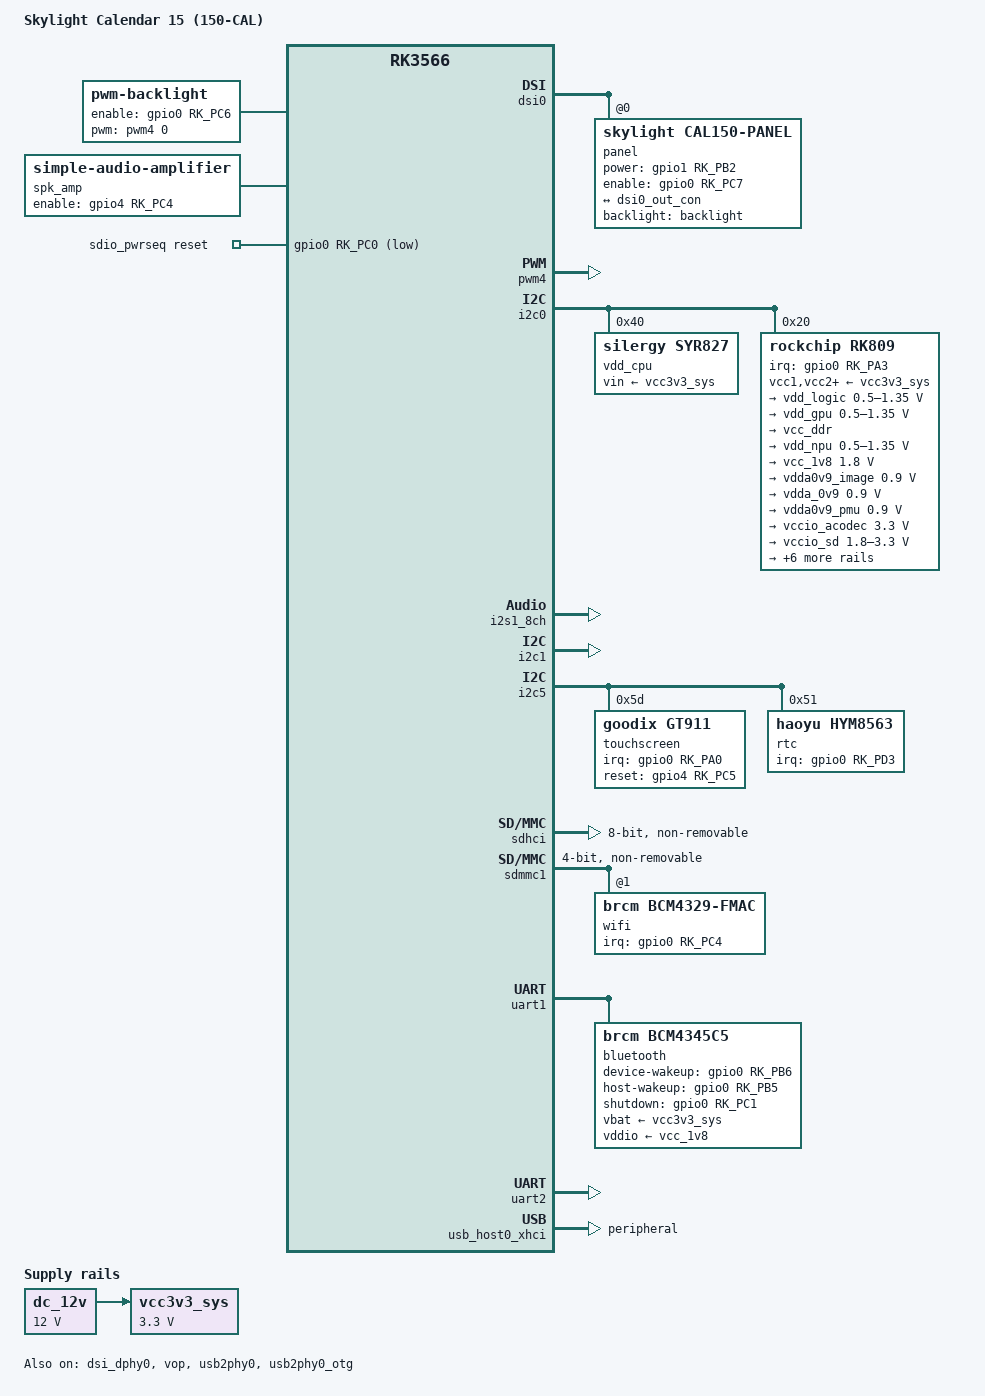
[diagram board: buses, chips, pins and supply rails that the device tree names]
// SPDX-License-Identifier: (GPL-2.0+ OR MIT)
/*
 * Skylight Calendar 15 (150-CAL), Skyworth board D156, Rockchip RK3566, on TECHO5's mainline kernel.
 *
 * Values come from the unit's own stock device tree (rk-kernel.dtb, the d156-mipi variant); the PMIC
 * layout follows rk3566-bigtreetech-cb2.dtsi (the same RK809 rails and AP6256), the display path
 * rk3566-pinetab2.dtsi (VOP2 video port 1 into DSI0). See tools/linux/skylight/kernel/README.md.
 */

/dts-v1/;

#include <dt-bindings/gpio/gpio.h>
#include <dt-bindings/input/input.h>
#include <dt-bindings/pinctrl/rockchip.h>
#include <dt-bindings/soc/rockchip,boot-mode.h>
#include <dt-bindings/soc/rockchip,vop2.h>
#include "rk3566.dtsi"

/ {
	model = "Skylight Calendar 15 (150-CAL)";
	compatible = "skylight,cal150", "rockchip,rk3566";

	aliases {
		mmc0 = &sdhci;
		mmc1 = &sdmmc1;
		serial2 = &uart2;
	};

	/* Labeled: the stock dtbo overlay targets "chosen" and "reboot_mode". */
	chosen: chosen {
		stdout-path = "serial2:1500000n8";
	};

	reserved-memory {
		/* Same place as stock, so stock Android can read our log after a reboot. */
		ramoops@110000 {
			compatible = "ramoops";
			reg = <0x0 0x110000 0x0 0xf0000>;
			record-size = <0x20000>;
			console-size = <0x80000>;
			pmsg-size = <0x50000>;
		};
	};

	/* Stock: pwm4 at 25 us, levels 20..255 linear, default 200, enable on GPIO0_C6. */
	backlight: backlight {
		compatible = "pwm-backlight";
		pwms = <&pwm4 0 25000 0>;
		brightness-levels = <20 255>;
		num-interpolated-steps = <235>;
		default-brightness-level = <180>;
		enable-gpios = <&gpio0 RK_PC6 GPIO_ACTIVE_HIGH>;
	};

	/*
	 * External speaker amp, enabled by GPIO4_C4 (stock spk-ctl). It is fed from the RK809 headphone
	 * outputs, not SPKO: measured 2026-10-17, sound only with "Playback Mux" = HP.
	 */
	spk_amp: audio-amplifier {
		compatible = "simple-audio-amplifier";
		enable-gpios = <&gpio4 RK_PC4 GPIO_ACTIVE_HIGH>;
		pinctrl-names = "default";
		pinctrl-0 = <&spk_ctl>;
		sound-name-prefix = "Speaker Amp";
	};

	rk809-sound {
		compatible = "simple-audio-card";
		simple-audio-card,format = "i2s";
		simple-audio-card,name = "Analog RK809";
		simple-audio-card,mclk-fs = <256>;
		simple-audio-card,aux-devs = <&spk_amp>;
		simple-audio-card,widgets = "Speaker", "Speaker";
		simple-audio-card,routing =
			"Speaker Amp INL", "HPOL",
			"Speaker Amp INR", "HPOR",
			"Speaker", "Speaker Amp OUTL",
			"Speaker", "Speaker Amp OUTR";

		simple-audio-card,cpu {
			sound-dai = <&i2s1_8ch>;
		};

		simple-audio-card,codec {
			sound-dai = <&rk809>;
		};
	};

	/* AP6256 Wi-Fi/BT: power/reset GPIO0_C0, 32 kHz from the RK809. */
	sdio_pwrseq: sdio-pwrseq {
		compatible = "mmc-pwrseq-simple";
		clocks = <&rk809 1>;
		clock-names = "ext_clock";
		pinctrl-names = "default";
		pinctrl-0 = <&wifi_enable_h>;
		post-power-on-delay-ms = <200>;
		reset-gpios = <&gpio0 RK_PC0 GPIO_ACTIVE_LOW>;
	};

	dc_12v: regulator-dc-12v {
		compatible = "regulator-fixed";
		regulator-name = "dc_12v";
		regulator-always-on;
		regulator-boot-on;
		regulator-min-microvolt = <12000000>;
		regulator-max-microvolt = <12000000>;
	};

	vcc3v3_sys: regulator-vcc3v3-sys {
		compatible = "regulator-fixed";
		regulator-name = "vcc3v3_sys";
		regulator-always-on;
		regulator-boot-on;
		regulator-min-microvolt = <3300000>;
		regulator-max-microvolt = <3300000>;
		vin-supply = <&dc_12v>;
	};
};

&cpu0 {
	cpu-supply = <&vdd_cpu>;
};

&cpu1 {
	cpu-supply = <&vdd_cpu>;
};

&cpu2 {
	cpu-supply = <&vdd_cpu>;
};

&cpu3 {
	cpu-supply = <&vdd_cpu>;
};

/* Display: VOP2 video port 1 -> DSI0 (4 lanes) -> bridge -> 1920x1080 LVDS panel. */
&dsi0 {
	#address-cells = <1>;
	#size-cells = <0>;
	status = "okay";

	panel@0 {
		compatible = "skylight,cal150-panel";
		reg = <0>;
		backlight = <&backlight>;
		power-gpios = <&gpio1 RK_PB2 GPIO_ACTIVE_HIGH>;
		enable-gpios = <&gpio0 RK_PC7 GPIO_ACTIVE_HIGH>;

		port {
			panel_in_dsi: endpoint {
				remote-endpoint = <&dsi0_out_con>;
			};
		};
	};
};

&dsi0_in {
	dsi0_in_vp1: endpoint {
		remote-endpoint = <&vp1_out_dsi0>;
	};
};

&dsi0_out {
	dsi0_out_con: endpoint {
		remote-endpoint = <&panel_in_dsi>;
	};
};

&dsi_dphy0 {
	status = "okay";
};

&pwm4 {
	status = "okay";
};

/*
 * dclk_vop1 cannot change VPLL's rate itself (no CLK_SET_RATE_PARENT), so give VPLL a rate that
 * divides to the panel's 152 MHz: 912 MHz / 6 (912 MHz is in the RK3568 PLL table).
 */
&vop {
	assigned-clocks = <&cru PLL_VPLL>, <&cru DCLK_VOP0>, <&cru DCLK_VOP1>;
	assigned-clock-parents = <0>, <&pmucru PLL_HPLL>, <&cru PLL_VPLL>;
	assigned-clock-rates = <912000000>, <0>, <152000000>;
	status = "okay";
};

&vop_mmu {
	status = "okay";
};

&vp1 {
	vp1_out_dsi0: endpoint@ROCKCHIP_VOP2_EP_MIPI0 {
		reg = <ROCKCHIP_VOP2_EP_MIPI0>;
		remote-endpoint = <&dsi0_in_vp1>;
	};
};

&i2c0 {
	status = "okay";

	vdd_cpu: regulator@40 {
		compatible = "silergy,syr827";
		reg = <0x40>;
		regulator-name = "vdd_cpu";
		regulator-min-microvolt = <712500>;
		regulator-max-microvolt = <1390000>;
		regulator-ramp-delay = <2300>;
		regulator-boot-on;
		regulator-always-on;
		vin-supply = <&vcc3v3_sys>;
		fcs,suspend-voltage-selector = <1>;

		regulator-state-mem {
			regulator-off-in-suspend;
		};
	};

	rk809: pmic@20 {
		compatible = "rockchip,rk809";
		reg = <0x20>;
		interrupt-parent = <&gpio0>;
		interrupts = <RK_PA3 IRQ_TYPE_LEVEL_LOW>;
		#clock-cells = <1>;
		clock-output-names = "rk808-clkout1", "rk808-clkout2";
		assigned-clocks = <&cru I2S1_MCLKOUT_TX>;
		assigned-clock-parents = <&cru CLK_I2S1_8CH_TX>;
		clock-names = "mclk";
		clocks = <&cru I2S1_MCLKOUT_TX>;
		pinctrl-names = "default";
		pinctrl-0 = <&pmic_int>, <&i2s1m0_mclk>;
		#sound-dai-cells = <0>;
		system-power-controller;
		wakeup-source;

		vcc1-supply = <&vcc3v3_sys>;
		vcc2-supply = <&vcc3v3_sys>;
		vcc3-supply = <&vcc3v3_sys>;
		vcc4-supply = <&vcc3v3_sys>;
		vcc5-supply = <&vcc3v3_sys>;
		vcc6-supply = <&vcc3v3_sys>;
		vcc7-supply = <&vcc3v3_sys>;
		vcc8-supply = <&vcc3v3_sys>;
		vcc9-supply = <&vcc3v3_sys>;

		regulators {
			vdd_logic: DCDC_REG1 {
				regulator-always-on;
				regulator-boot-on;
				regulator-min-microvolt = <500000>;
				regulator-max-microvolt = <1350000>;
				regulator-ramp-delay = <6001>;
				regulator-initial-mode = <0x2>;
				regulator-name = "vdd_logic";

				regulator-state-mem {
					regulator-off-in-suspend;
				};
			};

			vdd_gpu: DCDC_REG2 {
				regulator-always-on;
				regulator-boot-on;
				regulator-min-microvolt = <500000>;
				regulator-max-microvolt = <1350000>;
				regulator-ramp-delay = <6001>;
				regulator-initial-mode = <0x2>;
				regulator-name = "vdd_gpu";

				regulator-state-mem {
					regulator-off-in-suspend;
				};
			};

			vcc_ddr: DCDC_REG3 {
				regulator-always-on;
				regulator-boot-on;
				regulator-initial-mode = <0x2>;
				regulator-name = "vcc_ddr";

				regulator-state-mem {
					regulator-on-in-suspend;
				};
			};

			vdd_npu: DCDC_REG4 {
				regulator-always-on;
				regulator-boot-on;
				regulator-min-microvolt = <500000>;
				regulator-max-microvolt = <1350000>;
				regulator-ramp-delay = <6001>;
				regulator-initial-mode = <0x2>;
				regulator-name = "vdd_npu";

				regulator-state-mem {
					regulator-off-in-suspend;
				};
			};

			vcc_1v8: DCDC_REG5 {
				regulator-always-on;
				regulator-boot-on;
				regulator-min-microvolt = <1800000>;
				regulator-max-microvolt = <1800000>;
				regulator-name = "vcc_1v8";

				regulator-state-mem {
					regulator-on-in-suspend;
				};
			};

			vdda0v9_image: LDO_REG1 {
				regulator-always-on;
				regulator-boot-on;
				regulator-min-microvolt = <900000>;
				regulator-max-microvolt = <900000>;
				regulator-name = "vdda0v9_image";

				regulator-state-mem {
					regulator-off-in-suspend;
				};
			};

			vdda_0v9: LDO_REG2 {
				regulator-always-on;
				regulator-boot-on;
				regulator-min-microvolt = <900000>;
				regulator-max-microvolt = <900000>;
				regulator-name = "vdda_0v9";

				regulator-state-mem {
					regulator-off-in-suspend;
				};
			};

			vdda0v9_pmu: LDO_REG3 {
				regulator-always-on;
				regulator-boot-on;
				regulator-min-microvolt = <900000>;
				regulator-max-microvolt = <900000>;
				regulator-name = "vdda0v9_pmu";

				regulator-state-mem {
					regulator-on-in-suspend;
					regulator-suspend-microvolt = <900000>;
				};
			};

			vccio_acodec: LDO_REG4 {
				regulator-always-on;
				regulator-boot-on;
				regulator-min-microvolt = <3300000>;
				regulator-max-microvolt = <3300000>;
				regulator-name = "vccio_acodec";

				regulator-state-mem {
					regulator-off-in-suspend;
				};
			};

			vccio_sd: LDO_REG5 {
				regulator-always-on;
				regulator-boot-on;
				regulator-min-microvolt = <1800000>;
				regulator-max-microvolt = <3300000>;
				regulator-name = "vccio_sd";

				regulator-state-mem {
					regulator-off-in-suspend;
				};
			};

			vcc3v3_pmu: LDO_REG6 {
				regulator-always-on;
				regulator-boot-on;
				regulator-min-microvolt = <3300000>;
				regulator-max-microvolt = <3300000>;
				regulator-name = "vcc3v3_pmu";

				regulator-state-mem {
					regulator-on-in-suspend;
					regulator-suspend-microvolt = <3300000>;
				};
			};

			vcca_1v8: LDO_REG7 {
				regulator-always-on;
				regulator-boot-on;
				regulator-min-microvolt = <1800000>;
				regulator-max-microvolt = <1800000>;
				regulator-name = "vcca_1v8";

				regulator-state-mem {
					regulator-off-in-suspend;
				};
			};

			vcca1v8_pmu: LDO_REG8 {
				regulator-always-on;
				regulator-boot-on;
				regulator-min-microvolt = <1800000>;
				regulator-max-microvolt = <1800000>;
				regulator-name = "vcca1v8_pmu";

				regulator-state-mem {
					regulator-on-in-suspend;
					regulator-suspend-microvolt = <1800000>;
				};
			};

			vcca1v8_image: LDO_REG9 {
				regulator-always-on;
				regulator-boot-on;
				regulator-min-microvolt = <1800000>;
				regulator-max-microvolt = <1800000>;
				regulator-name = "vcca1v8_image";

				regulator-state-mem {
					regulator-off-in-suspend;
				};
			};

			vcc_3v3: SWITCH_REG1 {
				regulator-always-on;
				regulator-boot-on;
				regulator-name = "vcc_3v3";

				regulator-state-mem {
					regulator-off-in-suspend;
				};
			};

			vcc3v3_sd: SWITCH_REG2 {
				regulator-always-on;
				regulator-boot-on;
				regulator-name = "vcc3v3_sd";

				regulator-state-mem {
					regulator-off-in-suspend;
				};
			};
		};

		codec {
		};
	};
};

&i2s1_8ch {
	pinctrl-names = "default";
	pinctrl-0 = <&i2s1m0_sclktx &i2s1m0_lrcktx &i2s1m0_sdi0 &i2s1m0_sdo0>;
	rockchip,trcm-sync-tx-only;
	status = "okay";
};

/*
 * The light sensor (Everlight EM3071X at 0x24, "ls_em3071x" in the stock tree) on I2C1. It has no
 * mainline driver: echod reads it through /dev/i2c-1 (hardware/ambient, CONFIG_I2C_CHARDEV).
 */
&i2c1 {
	status = "okay";
};

/* Touch (Goodix GT9xx) and the battery-backed RTC share I2C5 on its m1 pins. */
&i2c5 {
	pinctrl-names = "default";
	pinctrl-0 = <&i2c5m1_xfer>;
	status = "okay";

	touchscreen@5d {
		compatible = "goodix,gt911";
		reg = <0x5d>;
		interrupt-parent = <&gpio0>;
		interrupts = <RK_PA0 IRQ_TYPE_EDGE_FALLING>;
		irq-gpios = <&gpio0 RK_PA0 GPIO_ACTIVE_HIGH>;
		reset-gpios = <&gpio4 RK_PC5 GPIO_ACTIVE_HIGH>;
		pinctrl-names = "default";
		pinctrl-0 = <&touch_int &touch_rst>;
	};

	rtc@51 {
		compatible = "haoyu,hym8563";
		reg = <0x51>;
		#clock-cells = <0>;
		clock-output-names = "rtcic_32kout";
		interrupt-parent = <&gpio0>;
		interrupts = <RK_PD3 IRQ_TYPE_LEVEL_LOW>;
		pinctrl-names = "default";
		pinctrl-0 = <&rtc_int>;
		wakeup-source;
	};
};

&pinctrl {
	pmic {
		pmic_int: pmic-int {
			rockchip,pins = <0 RK_PA3 RK_FUNC_GPIO &pcfg_pull_up>;
		};
	};

	audio {
		spk_ctl: spk-ctl {
			rockchip,pins = <4 RK_PC4 RK_FUNC_GPIO &pcfg_pull_none>;
		};
	};

	rtc {
		rtc_int: rtc-int {
			rockchip,pins = <0 RK_PD3 RK_FUNC_GPIO &pcfg_pull_up>;
		};
	};

	touch {
		touch_int: touch-int {
			rockchip,pins = <0 RK_PA0 RK_FUNC_GPIO &pcfg_pull_up>;
		};

		touch_rst: touch-rst {
			rockchip,pins = <4 RK_PC5 RK_FUNC_GPIO &pcfg_pull_none>;
		};
	};

	bt {
		bt_enable: bt-enable-h {
			rockchip,pins = <0 RK_PC1 RK_FUNC_GPIO &pcfg_pull_none>;
		};

		bt_host_wake: bt-host-wake-l {
			rockchip,pins = <0 RK_PB5 RK_FUNC_GPIO &pcfg_pull_down>;
		};

		bt_wake: bt-wake-l {
			rockchip,pins = <0 RK_PB6 RK_FUNC_GPIO &pcfg_pull_none>;
		};
	};

	wifi {
		wifi_enable_h: wifi-enable-h {
			rockchip,pins = <0 RK_PC0 RK_FUNC_GPIO &pcfg_pull_none>;
		};

		wifi_host_wake: wifi-host-wake {
			rockchip,pins = <0 RK_PC4 RK_FUNC_GPIO &pcfg_pull_down>;
		};
	};
};

&pmu_io_domains {
	pmuio2-supply = <&vcc3v3_pmu>;
	vccio1-supply = <&vccio_acodec>;
	vccio3-supply = <&vccio_sd>;
	vccio4-supply = <&vcc_1v8>;
	vccio5-supply = <&vcc_3v3>;
	vccio6-supply = <&vcca1v8_pmu>;
	vccio7-supply = <&vcc_3v3>;
	status = "okay";
};

&pmugrf {
	reboot_mode: reboot-mode {
		compatible = "syscon-reboot-mode";
		offset = <0x200>;
		mode-normal = <BOOT_NORMAL>;
		mode-loader = <BOOT_BL_DOWNLOAD>;
		mode-recovery = <BOOT_RECOVERY>;
		mode-bootloader = <BOOT_FASTBOOT>;
		mode-ums = <(REBOOT_FLAG + 12)>;
	};
};

/* eMMC. Plain high speed for the first boots; HS200 once it is known good. */
&sdhci {
	bus-width = <8>;
	cap-mmc-highspeed;
	max-frequency = <52000000>;
	non-removable;
	no-sd;
	no-sdio;
	status = "okay";
};

/* AMPAK AP6256 (BCM43456) Wi-Fi on SDIO; host wake on GPIO0_C4. */
&sdmmc1 {
	#address-cells = <1>;
	#size-cells = <0>;
	bus-width = <4>;
	cap-sd-highspeed;
	cap-sdio-irq;
	disable-wp;
	keep-power-in-suspend;
	max-frequency = <150000000>;
	mmc-pwrseq = <&sdio_pwrseq>;
	non-removable;
	pinctrl-names = "default";
	pinctrl-0 = <&sdmmc1_bus4 &sdmmc1_cmd &sdmmc1_clk>;
	rockchip,default-sample-phase = <90>;
	status = "okay";

	wifi@1 {
		compatible = "brcm,bcm4329-fmac";
		reg = <1>;
		interrupt-parent = <&gpio0>;
		interrupts = <RK_PC4 IRQ_TYPE_LEVEL_HIGH>;
		interrupt-names = "host-wake";
		pinctrl-names = "default";
		pinctrl-0 = <&wifi_host_wake>;
	};
};

/* AP6256 Bluetooth (BCM4345C5): enable GPIO0_C1, device wake GPIO0_B6, host wake GPIO0_B5 (stock). */
&uart1 {
	dma-names = "tx", "rx";
	pinctrl-names = "default";
	pinctrl-0 = <&uart1m0_xfer &uart1m0_ctsn &uart1m0_rtsn>;
	uart-has-rtscts;
	status = "okay";

	bluetooth {
		compatible = "brcm,bcm4345c5";
		clocks = <&rk809 1>;
		clock-names = "lpo";
		device-wakeup-gpios = <&gpio0 RK_PB6 GPIO_ACTIVE_HIGH>;
		host-wakeup-gpios = <&gpio0 RK_PB5 GPIO_ACTIVE_HIGH>;
		shutdown-gpios = <&gpio0 RK_PC1 GPIO_ACTIVE_HIGH>;
		pinctrl-names = "default";
		pinctrl-0 = <&bt_host_wake &bt_wake &bt_enable>;
		vbat-supply = <&vcc3v3_sys>;
		vddio-supply = <&vcc_1v8>;
	};
};

&uart2 {
	status = "okay";
};

&usb2phy0 {
	status = "okay";
};

&usb2phy0_otg {
	status = "okay";
};

/* The micro-USB port: a gadget only, so it shows up on the bench PC whatever VBUS says. */
&usb_host0_xhci {
	dr_mode = "peripheral";
	extcon = <&usb2phy0>;
	status = "okay";
};
